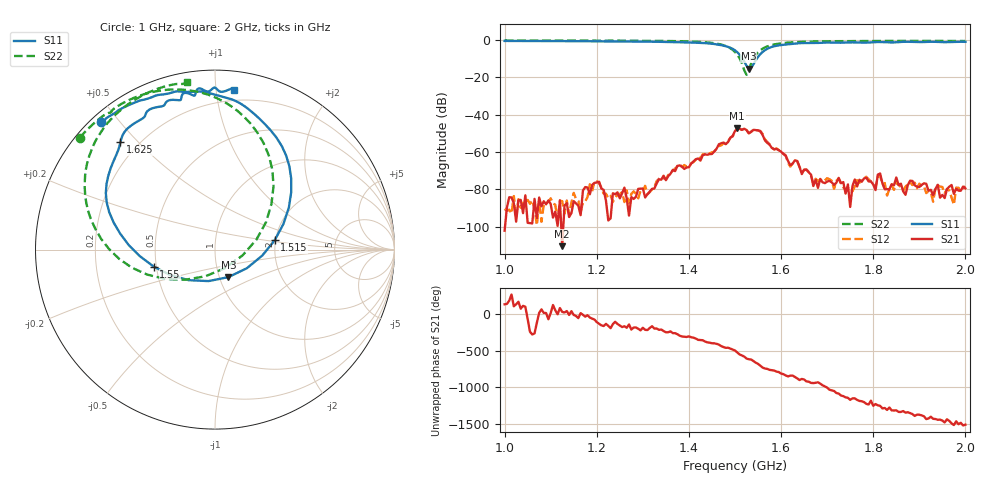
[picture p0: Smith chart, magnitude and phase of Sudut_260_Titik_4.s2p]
# Hz S RI R 50
! CMT, C1220, 16058040, 17.2.0/1
! Date: 14/08/2018 12:32:38
! Data: Format (Calibration Info)
! Freq  S11: Re/Im (F2)  S21: Re/Im (F2)  S12: Re/Im (F2)  S22: Re/Im (F2)
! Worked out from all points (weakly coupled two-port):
!   201 points, 1 GHz to 2 GHz, reference 50 ohm
!   highest |S21| = -47.27 dB at 1.505 GHz (marker M1); lowest = -110.5 dB at 1.125 GHz (marker M2)
!   lowest |S11| = -15.4 dB at 1.53 GHz (marker M3), VSWR 1.41, Z = 55.2 - j17.4 ohm
!   |S11| at or under -10 dB: 1.516 GHz to 1.547 GHz (31 MHz wide, 2.02 % of centre)
!   |S22| runs from -18.6 to -0.2 dB; largest |S21 - S12| = 0.00025
!   S11 on the Smith chart (normalised r, x): 1 GHz: 0.03, +0.45; 1.515 GHz: 1.98, +0.23; 1.55 GHz: 0.48, -0.10; 1.625 GHz: 0.14, +0.44; 2 GHz: 0.12, +1.12
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1e9  -0.6331 0.7083  -5.53e-06 5.43e-06  2.67e-05 1.31e-05  -0.7533 0.6238
1.125e9  -0.5022 0.7951  2.52e-06 1.58e-06  1.08e-05 4.67e-05  -0.6602 0.716
1.17e9  -0.4563 0.8156  9.16e-05 -1.23e-05  3.76e-05 -2.36e-05  -0.6172 0.7491
1.32e9  -0.2134 0.8818  -9.89e-05 -2.85e-05  -9.79e-05 1.18e-05  -0.4306 0.8536
1.335e9  -0.192 0.8806  -0.000155 0.000102  -0.000167 9.2e-05  -0.402 0.8634
1.45e9  0.1963 0.7746  0.000707 -0.000529  0.000737 -0.000637  0.0198 0.8393
1.5e9  0.4245 0.3199  -0.00261 -0.00254  -0.00246 -0.0024  0.326 0.3529
1.505e9  0.4115 0.2339  -0.00412 -0.00134  -0.00387 -0.00136  0.315 0.2563
1.515e9  0.3321 0.0515  -0.00358 0.00157  -0.00367 0.00144  0.23 0.0543
1.53e9  0.0751 -0.1532  -0.000778 0.00306  -0.000795 0.00307  -0.0531 -0.1486
1.55e9  -0.3415 -0.0947  0.00287 0.00248  0.00281 0.00257  -0.4629 -0.101
1.625e9  -0.5269 0.5973  -0.00023 -0.000428  -0.00022 -0.000437  -0.7005 0.5211
1.665e9  -0.4169 0.7225  -0.000193 0.000154  -0.00018 0.000141  -0.6332 0.6577
1.67e9  -0.4038 0.7305  -9.11e-05 8.12e-05  -0.000108 9.48e-05  -0.6251 0.6707
1.755e9  -0.2571 0.8314  4.15e-05 -0.000116  4.11e-05 -7.81e-05  -0.4904 0.8052
1.785e9  -0.1907 0.8346  -0.000168 -0.000114  -0.00019 -0.000101  -0.4473 0.8338
1.805e9  -0.1799 0.8668  -8.08e-05 -4.98e-05  -0.000105 -4.35e-05  -0.4194 0.8508
1.815e9  -0.1638 0.8734  -0.000263 -3.23e-05  -0.000196 -0.000111  -0.406 0.8582
1.835e9  -0.1206 0.8584  -9.58e-05 2.61e-05  -5.94e-05 8.07e-05  -0.3789 0.8714
1.85e9  -0.109 0.8676  -0.00012 0.000169  -5.98e-05 0.000144  -0.3585 0.8807
1.865e9  -0.0984 0.8936  -3.75e-05 7.96e-05  3.26e-06 9e-05  -0.3379 0.8888
2e9  0.1062 0.8917  3.58e-05 -9.94e-05  -1.28e-05 -0.000119  -0.1554 0.9315
